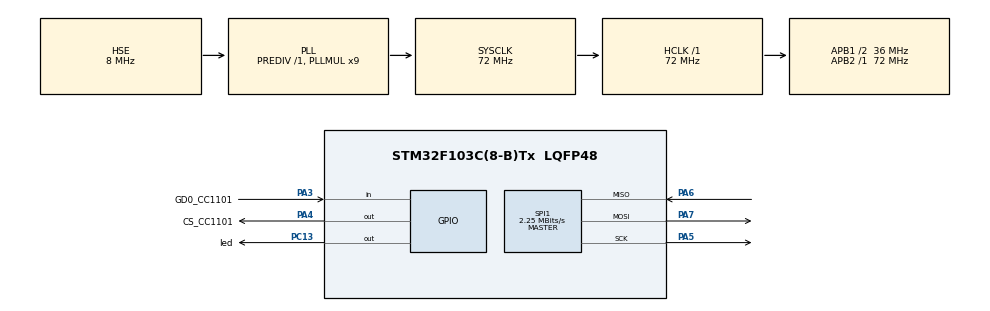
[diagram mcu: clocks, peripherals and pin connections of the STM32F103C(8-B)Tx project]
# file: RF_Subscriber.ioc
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Mcu.Family=STM32F1
Mcu.Name=STM32F103C(8-B)Tx
Mcu.Package=LQFP48
NVIC.PriorityGroup=NVIC_PRIORITYGROUP_4
PA13.Mode=Serial_Wire
PA13.Signal=SYS_JTMS-SWDIO
PA14.Mode=Serial_Wire
PA14.Signal=SYS_JTCK-SWCLK
PA3.GPIO_Label=GD0_CC1101
PA3.GPIO_PuPd=GPIO_PULLDOWN
PA3.Signal=GPIO_Input
PA4.GPIO_Label=CS_CC1101
PA4.Signal=GPIO_Output
PA5.Mode=Full_Duplex_Master
PA5.Signal=SPI1_SCK
PA6.Mode=Full_Duplex_Master
PA6.Signal=SPI1_MISO
PA7.Mode=Full_Duplex_Master
PA7.Signal=SPI1_MOSI
PC13-TAMPER-RTC.GPIO_Label=led
PC13-TAMPER-RTC.Signal=GPIO_Output
PD0-OSC_IN.Mode=HSE-External-Oscillator
PD0-OSC_IN.Signal=RCC_OSC_IN
PD1-OSC_OUT.Mode=HSE-External-Oscillator
PD1-OSC_OUT.Signal=RCC_OSC_OUT
ProjectManager.HeapSize=0x200
ProjectManager.StackSize=0x400
ProjectManager.TargetToolchain=CMake
RCC.AHBFreq_Value=72000000
RCC.APB1CLKDivider=RCC_HCLK_DIV2
RCC.APB1Freq_Value=36000000
RCC.APB1TimFreq_Value=72000000
RCC.APB2Freq_Value=72000000
RCC.APB2TimFreq_Value=72000000
RCC.HCLKFreq_Value=72000000
RCC.PLLMUL=RCC_PLL_MUL9
RCC.PLLSourceVirtual=RCC_PLLSOURCE_HSE
RCC.SYSCLKFreq_VALUE=72000000
RCC.SYSCLKSource=RCC_SYSCLKSOURCE_PLLCLK
RCC.USBFreq_Value=72000000
SPI1.BaudRatePrescaler=SPI_BAUDRATEPRESCALER_32
SPI1.CalculateBaudRate=2.25 MBits/s
SPI1.Direction=SPI_DIRECTION_2LINES
SPI1.Mode=SPI_MODE_MASTER
SPI1.VirtualType=VM_MASTER
board=custom

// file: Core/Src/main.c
/* USER CODE BEGIN Header */
/**
  ******************************************************************************
  * @file           : main.c
  * @brief          : Main program body
  ******************************************************************************
  * @attention
  *
  * Copyright (c) 2026 STMicroelectronics.
  * All rights reserved.
  *
  * This software is licensed under terms that can be found in the LICENSE file
  * in the root directory of this software component.
  * If no LICENSE file comes with this software, it is provided AS-IS.
  *
  ******************************************************************************
  */
/* USER CODE END Header */
#include "main.h"

/* USER CODE BEGIN Includes */
#include "cc1101.h"
#include "stm32f1xx_hal.h"
#include "stm32f1xx_hal_gpio.h"
#include <stdint.h>
/* USER CODE END Includes */

SPI_HandleTypeDef hspi1;

/* USER CODE BEGIN PV */
uint8_t CC1101_Version = 0;
uint8_t CC1101_PartNum = 0;
uint8_t rx_buffer[64];      // Buffer for incoming data
uint8_t rx_len = 0;         // Length of received packet
uint8_t received_count = 0; // To store the counter value
int16_t rssi_value = 0;    // To store RSSI value of received packet
/* USER CODE END PV */

void SystemClock_Config(void);
static void MX_GPIO_Init(void);
static void MX_SPI1_Init(void);

int main(void)
{

  /* MCU Configuration--------------------------------------------------------*/

  /* Reset of all peripherals, Initializes the Flash interface and the Systick. */
  HAL_Init();

  /* Configure the system clock */
  SystemClock_Config();

  /* Initialize all configured peripherals */
  MX_GPIO_Init();
  MX_SPI1_Init();
  /* USER CODE BEGIN 2 */
  CC1101_t cc1101 = {
      .hspi = &hspi1,
      .csPort = CS_CC1101_GPIO_Port,
      .csPin = CS_CC1101_Pin,
      .gdo0Port = GD0_CC1101_GPIO_Port,
      .gdo0Pin = GD0_CC1101_Pin
  };
  CC1101_Init(&cc1101);
  CC1101_Version = CC1101_ReadReg(&cc1101, CC1101_VERSION);
  CC1101_PartNum = CC1101_ReadReg(&cc1101, CC1101_PARTNUM);
  // CC1101_SetMaxPower(&cc1101);
  /* USER CODE END 2 */

  /* Infinite loop */
  /* USER CODE BEGIN WHILE */
  while (1)
  {

    rx_len = CC1101_ReceivePacket(&cc1101, rx_buffer);
    if (rx_len > 0) {
        received_count = rx_buffer[0]; // Assuming the first byte is the counter
        rssi_value = CC1101_GetRSSI(&cc1101); // Read RSSI of received packet
        HAL_GPIO_TogglePin(led_GPIO_Port, led_Pin); // Toggle LED on packet reception
        HAL_Delay(100); // Short delay to debounce LED toggle
    }
    HAL_Delay(10);
    /* USER CODE END WHILE */

  }
}

void SystemClock_Config(void)
{
  RCC_OscInitTypeDef RCC_OscInitStruct = {0};
  RCC_ClkInitTypeDef RCC_ClkInitStruct = {0};

  /** Initializes the RCC Oscillators according to the specified parameters
  * in the RCC_OscInitTypeDef structure.
  */
  RCC_OscInitStruct.OscillatorType = RCC_OSCILLATORTYPE_HSE;
  RCC_OscInitStruct.HSEState = RCC_HSE_ON;
  RCC_OscInitStruct.HSEPredivValue = RCC_HSE_PREDIV_DIV1;
  RCC_OscInitStruct.HSIState = RCC_HSI_ON;
  RCC_OscInitStruct.PLL.PLLState = RCC_PLL_ON;
  RCC_OscInitStruct.PLL.PLLSource = RCC_PLLSOURCE_HSE;
  RCC_OscInitStruct.PLL.PLLMUL = RCC_PLL_MUL9;
  if (HAL_RCC_OscConfig(&RCC_OscInitStruct) != HAL_OK)
  {
    Error_Handler();
  }

  /** Initializes the CPU, AHB and APB buses clocks
  */
  RCC_ClkInitStruct.ClockType = RCC_CLOCKTYPE_HCLK|RCC_CLOCKTYPE_SYSCLK
                              |RCC_CLOCKTYPE_PCLK1|RCC_CLOCKTYPE_PCLK2;
  RCC_ClkInitStruct.SYSCLKSource = RCC_SYSCLKSOURCE_PLLCLK;
  RCC_ClkInitStruct.AHBCLKDivider = RCC_SYSCLK_DIV1;
  RCC_ClkInitStruct.APB1CLKDivider = RCC_HCLK_DIV2;
  RCC_ClkInitStruct.APB2CLKDivider = RCC_HCLK_DIV1;

  if (HAL_RCC_ClockConfig(&RCC_ClkInitStruct, FLASH_LATENCY_2) != HAL_OK)
  {
    Error_Handler();
  }
}

static void MX_SPI1_Init(void)
{

  /* SPI1 parameter configuration*/
  hspi1.Instance = SPI1;
  hspi1.Init.Mode = SPI_MODE_MASTER;
  hspi1.Init.Direction = SPI_DIRECTION_2LINES;
  hspi1.Init.DataSize = SPI_DATASIZE_8BIT;
  hspi1.Init.CLKPolarity = SPI_POLARITY_LOW;
  hspi1.Init.CLKPhase = SPI_PHASE_1EDGE;
  hspi1.Init.NSS = SPI_NSS_SOFT;
  hspi1.Init.BaudRatePrescaler = SPI_BAUDRATEPRESCALER_32;
  hspi1.Init.FirstBit = SPI_FIRSTBIT_MSB;
  hspi1.Init.TIMode = SPI_TIMODE_DISABLE;
  hspi1.Init.CRCCalculation = SPI_CRCCALCULATION_DISABLE;
  hspi1.Init.CRCPolynomial = 10;
  if (HAL_SPI_Init(&hspi1) != HAL_OK)
  {
    Error_Handler();
  }

}

static void MX_GPIO_Init(void)
{
  GPIO_InitTypeDef GPIO_InitStruct = {0};

  /* GPIO Ports Clock Enable */
  __HAL_RCC_GPIOC_CLK_ENABLE();
  __HAL_RCC_GPIOD_CLK_ENABLE();
  __HAL_RCC_GPIOA_CLK_ENABLE();

  /*Configure GPIO pin Output Level */
  HAL_GPIO_WritePin(led_GPIO_Port, led_Pin, GPIO_PIN_RESET);

  /*Configure GPIO pin Output Level */
  HAL_GPIO_WritePin(CS_CC1101_GPIO_Port, CS_CC1101_Pin, GPIO_PIN_RESET);

  /*Configure GPIO pin : led_Pin */
  GPIO_InitStruct.Pin = led_Pin;
  GPIO_InitStruct.Mode = GPIO_MODE_OUTPUT_PP;
  GPIO_InitStruct.Pull = GPIO_NOPULL;
  GPIO_InitStruct.Speed = GPIO_SPEED_FREQ_LOW;
  HAL_GPIO_Init(led_GPIO_Port, &GPIO_InitStruct);

  /*Configure GPIO pin : GD0_CC1101_Pin */
  GPIO_InitStruct.Pin = GD0_CC1101_Pin;
  GPIO_InitStruct.Mode = GPIO_MODE_INPUT;
  GPIO_InitStruct.Pull = GPIO_PULLDOWN;
  HAL_GPIO_Init(GD0_CC1101_GPIO_Port, &GPIO_InitStruct);

  /*Configure GPIO pin : CS_CC1101_Pin */
  GPIO_InitStruct.Pin = CS_CC1101_Pin;
  GPIO_InitStruct.Mode = GPIO_MODE_OUTPUT_PP;
  GPIO_InitStruct.Pull = GPIO_NOPULL;
  GPIO_InitStruct.Speed = GPIO_SPEED_FREQ_LOW;
  HAL_GPIO_Init(CS_CC1101_GPIO_Port, &GPIO_InitStruct);

}

void Error_Handler(void)
{
  __disable_irq();
  while (1)
  {
  }
}
